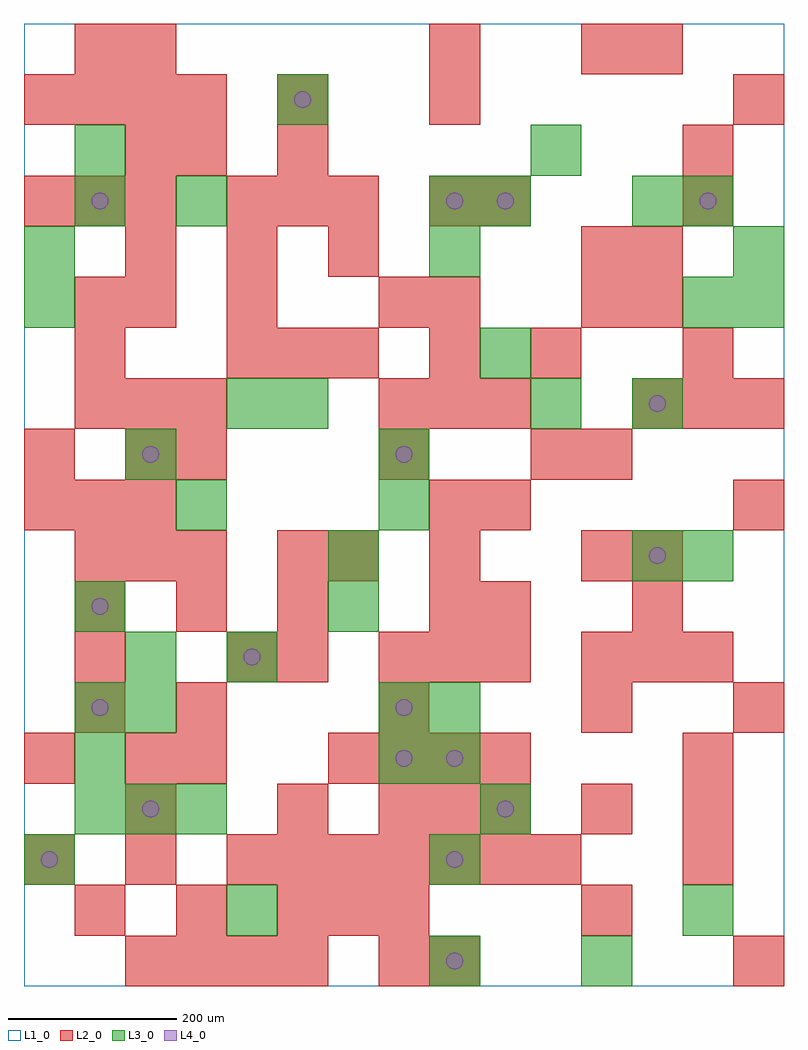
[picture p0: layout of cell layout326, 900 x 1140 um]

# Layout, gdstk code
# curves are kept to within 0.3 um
import gdstk
lib = gdstk.Library(unit=1e-6, precision=1e-09)
def R(c, l, rs):  # rectangles x0, y0, x1, y1
    for r in rs: c.add(gdstk.rectangle(r[:2], r[2:], *l))
def A(c, l, x, y, w, h, nx, ny, dx, dy):  # array of equal rectangles
    R(c, l, [(x+i*dx, y+j*dy, x+i*dx+w, y+j*dy+h) for i in range(nx) for j in range(ny)])
def P(c, l, *ps):  # polygons
    for p in ps: c.add(gdstk.Polygon(p, *l))
L1_0 = (1, 0)
L2_0 = (2, 0)
L3_0 = (3, 0)
L4_0 = (4, 0)

layout326 = lib.new_cell('layout326')
R(layout326, L1_0, [(0,0,900,1140)])
A(layout326, L2_0, 120, 0, 60, 60, 4, 1, 60, 0)
A(layout326, L2_0, 60, 60, 60, 60, 3, 2, 120, 360)
A(layout326, L2_0, 0, 120, 60, 60, 3, 1, 120, 0)
A(layout326, L2_0, 300, 120, 60, 60, 6, 1, 60, 0)
A(layout326, L2_0, 780, 120, 60, 60, 1, 3, 0, 60)
A(layout326, L2_0, 420, 180, 60, 60, 3, 2, 60, 180)
A(layout326, L2_0, 180, 240, 60, 60, 1, 3, 0, 360)
A(layout326, L2_0, 360, 240, 60, 60, 4, 1, 60, 0)
A(layout326, L2_0, 180, 300, 60, 60, 3, 1, 240, 0)
A(layout326, L2_0, 660, 360, 60, 60, 3, 1, 60, 0)
A(layout326, L2_0, 480, 420, 60, 60, 1, 3, 0, 60)
A(layout326, L2_0, 60, 480, 60, 60, 3, 2, 60, 180)
A(layout326, L2_0, 0, 540, 60, 60, 3, 2, 60, 360)
A(layout326, L2_0, 120, 600, 60, 60, 1, 3, 0, 180)
A(layout326, L2_0, 420, 660, 60, 60, 3, 1, 60, 0)
A(layout326, L2_0, 720, 660, 60, 60, 3, 1, 60, 0)
A(layout326, L2_0, 240, 720, 60, 60, 3, 2, 60, 180)
A(layout326, L2_0, 480, 780, 60, 60, 1, 3, 0, 120)
A(layout326, L2_0, 120, 840, 60, 60, 3, 1, 120, 0)
A(layout326, L2_0, 0, 1020, 60, 60, 4, 1, 60, 0)
R(layout326, L2_0, [(420,0,480,60), (480,0,540,60), (840,0,900,60), (360,60,420,120), (420,60,480,120), (660,60,720,120), (120,180,180,240), (300,180,360,240), (660,180,720,240), (0,240,60,300), (120,240,180,300), (60,300,120,360), (840,300,900,360), (60,360,120,420), (240,360,300,420), (300,360,360,420), (540,420,600,480), (720,420,780,480), (300,480,360,540), (360,480,420,540), (660,480,720,540), (720,480,780,540), (540,540,600,600), (840,540,900,600), (0,600,60,660), (420,600,480,660), (600,600,660,660), (660,600,720,660), (60,720,120,780), (480,720,540,780), (600,720,660,780), (780,720,840,780), (60,780,120,840), (240,780,300,840), (420,780,480,840), (660,780,720,840), (720,780,780,840), (660,840,720,900), (720,840,780,900), (540,900,600,960), (780,900,840,960), (300,960,360,1020), (780,960,840,1020), (300,1020,360,1080), (840,1020,900,1080), (60,1080,120,1140), (120,1080,180,1140), (480,1080,540,1140), (660,1080,720,1140), (720,1080,780,1140)])
A(layout326, L3_0, 480, 0, 60, 60, 1, 3, 0, 120)
A(layout326, L3_0, 240, 60, 60, 60, 1, 3, 0, 300)
A(layout326, L3_0, 60, 180, 60, 60, 3, 1, 60, 0)
R(layout326, L3_0, [(660,0,720,60), (780,60,840,120), (0,120,60,180), (540,180,600,240), (60,240,120,300), (420,240,480,300), (60,300,120,360), (120,300,180,360), (420,300,480,360), (480,300,540,360), (120,360,180,420), (60,420,120,480), (360,420,420,480), (360,480,420,540), (720,480,780,540), (780,480,840,540), (180,540,240,600), (420,540,480,600), (120,600,180,660), (420,600,480,660), (300,660,360,720), (600,660,660,720), (720,660,780,720), (540,720,600,780), (0,780,60,840), (780,780,840,840), (840,780,900,840), (0,840,60,900), (480,840,540,900), (840,840,900,900), (60,900,120,960), (180,900,240,960), (480,900,540,960), (540,900,600,960), (720,900,780,960), (780,900,840,960), (60,960,120,1020), (600,960,660,1020), (300,1020,360,1080)])
P(layout326, L4_0, [(40,150),(39.239,153.827),(37.071,157.071),(33.827,159.239),(30,160),(26.173,159.239),(22.929,157.071),(20.761,153.827),(20,150),(20.761,146.173),(22.929,142.929),(26.173,140.761),(30,140),(33.827,140.761),(37.071,142.929),(39.239,146.173)],
  [(100,330),(99.239,333.827),(97.071,337.071),(93.827,339.239),(90,340),(86.173,339.239),(82.929,337.071),(80.761,333.827),(80,330),(80.761,326.173),(82.929,322.929),(86.173,320.761),(90,320),(93.827,320.761),(97.071,322.929),(99.239,326.173)],
  [(100,450),(99.239,453.827),(97.071,457.071),(93.827,459.239),(90,460),(86.173,459.239),(82.929,457.071),(80.761,453.827),(80,450),(80.761,446.173),(82.929,442.929),(86.173,440.761),(90,440),(93.827,440.761),(97.071,442.929),(99.239,446.173)],
  [(100,930),(99.239,933.827),(97.071,937.071),(93.827,939.239),(90,940),(86.173,939.239),(82.929,937.071),(80.761,933.827),(80,930),(80.761,926.173),(82.929,922.929),(86.173,920.761),(90,920),(93.827,920.761),(97.071,922.929),(99.239,926.173)],
  [(160,210),(159.239,213.827),(157.071,217.071),(153.827,219.239),(150,220),(146.173,219.239),(142.929,217.071),(140.761,213.827),(140,210),(140.761,206.173),(142.929,202.929),(146.173,200.761),(150,200),(153.827,200.761),(157.071,202.929),(159.239,206.173)],
  [(160,630),(159.239,633.827),(157.071,637.071),(153.827,639.239),(150,640),(146.173,639.239),(142.929,637.071),(140.761,633.827),(140,630),(140.761,626.173),(142.929,622.929),(146.173,620.761),(150,620),(153.827,620.761),(157.071,622.929),(159.239,626.173)],
  [(280,390),(279.239,393.827),(277.071,397.071),(273.827,399.239),(270,400),(266.173,399.239),(262.929,397.071),(260.761,393.827),(260,390),(260.761,386.173),(262.929,382.929),(266.173,380.761),(270,380),(273.827,380.761),(277.071,382.929),(279.239,386.173)],
  [(340,1050),(339.239,1053.827),(337.071,1057.071),(333.827,1059.239),(330,1060),(326.173,1059.239),(322.929,1057.071),(320.761,1053.827),(320,1050),(320.761,1046.173),(322.929,1042.929),(326.173,1040.761),(330,1040),(333.827,1040.761),(337.071,1042.929),(339.239,1046.173)],
  [(460,270),(459.239,273.827),(457.071,277.071),(453.827,279.239),(450,280),(446.173,279.239),(442.929,277.071),(440.761,273.827),(440,270),(440.761,266.173),(442.929,262.929),(446.173,260.761),(450,260),(453.827,260.761),(457.071,262.929),(459.239,266.173)],
  [(460,330),(459.239,333.827),(457.071,337.071),(453.827,339.239),(450,340),(446.173,339.239),(442.929,337.071),(440.761,333.827),(440,330),(440.761,326.173),(442.929,322.929),(446.173,320.761),(450,320),(453.827,320.761),(457.071,322.929),(459.239,326.173)],
  [(460,630),(459.239,633.827),(457.071,637.071),(453.827,639.239),(450,640),(446.173,639.239),(442.929,637.071),(440.761,633.827),(440,630),(440.761,626.173),(442.929,622.929),(446.173,620.761),(450,620),(453.827,620.761),(457.071,622.929),(459.239,626.173)],
  [(520,30),(519.239,33.827),(517.071,37.071),(513.827,39.239),(510,40),(506.173,39.239),(502.929,37.071),(500.761,33.827),(500,30),(500.761,26.173),(502.929,22.929),(506.173,20.761),(510,20),(513.827,20.761),(517.071,22.929),(519.239,26.173)],
  [(520,150),(519.239,153.827),(517.071,157.071),(513.827,159.239),(510,160),(506.173,159.239),(502.929,157.071),(500.761,153.827),(500,150),(500.761,146.173),(502.929,142.929),(506.173,140.761),(510,140),(513.827,140.761),(517.071,142.929),(519.239,146.173)],
  [(520,270),(519.239,273.827),(517.071,277.071),(513.827,279.239),(510,280),(506.173,279.239),(502.929,277.071),(500.761,273.827),(500,270),(500.761,266.173),(502.929,262.929),(506.173,260.761),(510,260),(513.827,260.761),(517.071,262.929),(519.239,266.173)],
  [(520,930),(519.239,933.827),(517.071,937.071),(513.827,939.239),(510,940),(506.173,939.239),(502.929,937.071),(500.761,933.827),(500,930),(500.761,926.173),(502.929,922.929),(506.173,920.761),(510,920),(513.827,920.761),(517.071,922.929),(519.239,926.173)],
  [(580,210),(579.239,213.827),(577.071,217.071),(573.827,219.239),(570,220),(566.173,219.239),(562.929,217.071),(560.761,213.827),(560,210),(560.761,206.173),(562.929,202.929),(566.173,200.761),(570,200),(573.827,200.761),(577.071,202.929),(579.239,206.173)],
  [(580,930),(579.239,933.827),(577.071,937.071),(573.827,939.239),(570,940),(566.173,939.239),(562.929,937.071),(560.761,933.827),(560,930),(560.761,926.173),(562.929,922.929),(566.173,920.761),(570,920),(573.827,920.761),(577.071,922.929),(579.239,926.173)],
  [(760,510),(759.239,513.827),(757.071,517.071),(753.827,519.239),(750,520),(746.173,519.239),(742.929,517.071),(740.761,513.827),(740,510),(740.761,506.173),(742.929,502.929),(746.173,500.761),(750,500),(753.827,500.761),(757.071,502.929),(759.239,506.173)],
  [(760,690),(759.239,693.827),(757.071,697.071),(753.827,699.239),(750,700),(746.173,699.239),(742.929,697.071),(740.761,693.827),(740,690),(740.761,686.173),(742.929,682.929),(746.173,680.761),(750,680),(753.827,680.761),(757.071,682.929),(759.239,686.173)],
  [(820,930),(819.239,933.827),(817.071,937.071),(813.827,939.239),(810,940),(806.173,939.239),(802.929,937.071),(800.761,933.827),(800,930),(800.761,926.173),(802.929,922.929),(806.173,920.761),(810,920),(813.827,920.761),(817.071,922.929),(819.239,926.173)])

lib.write_gds('layout326.gds')
